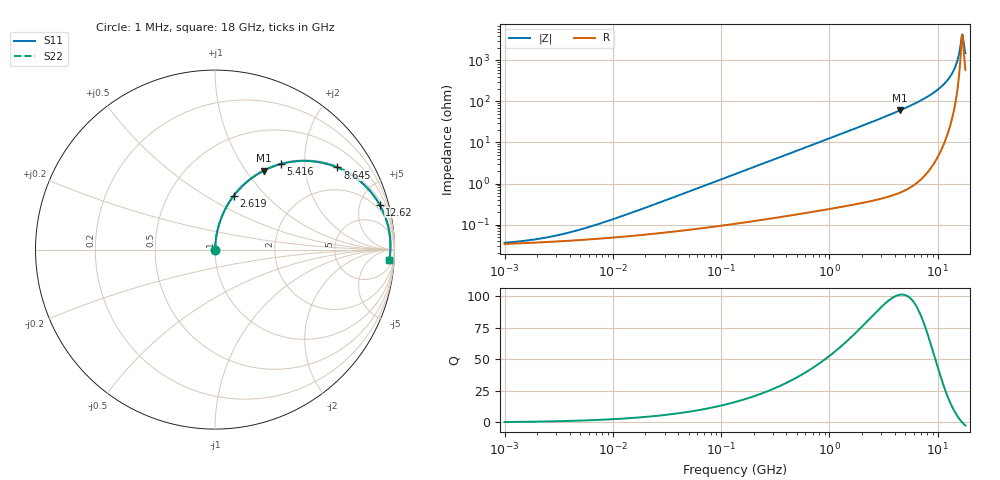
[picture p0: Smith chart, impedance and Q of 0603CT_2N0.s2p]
# MHz  S  MA  R  50
!Freq  MagS11  AngS11  MagS21  AngS21  MagS12  AngS12  MagS22  AngS22
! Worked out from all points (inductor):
!   986 points, 1 MHz to 18 GHz, reference 50 ohm
!   read as one part in series: L = 2 nH near 12.03 MHz
!   highest Q = 101 at 4.483 GHz (marker M1), where L = 2.15 nH
!   self-resonance near 16.84 GHz
!   S11 on the Smith chart (normalised r, x): 1 MHz: 1.00, +0.00; 2.619 GHz: 1.01, +0.67; 5.416 GHz: 1.02, +1.52; 8.645 GHz: 1.05, +2.95; 12.62 GHz: 1.39, +7.19; 18 GHz: 13, -28
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1  0.0003591 20.5  0.9997 -0.0  0.9997 -0.0  0.0003591 20.5
2.32979  0.0004728 38.2  0.9996 -0.0  0.9996 -0.0  0.0004728 38.2
5.164481  0.0007733 57.0  0.9996 -0.0  0.9996 -0.0  0.0007733 57.0
26.40778  0.003372 79.4  0.9994 -0.2  0.9994 -0.2  0.003372 79.4
135.0322  0.01698 85.5  0.9988 -1.0  0.9988 -1.0  0.01698 85.5
690.4664  0.08644 83.7  0.9942 -5.0  0.9942 -5.0  0.08644 83.7
1385.603  0.1722 79.2  0.9823 -9.9  0.9823 -9.9  0.1722 79.2
2619.429  0.3185 70.8  0.9442 -18.6  0.9442 -18.6  0.3185 70.8
3530.595  0.4193 64.6  0.9035 -24.8  0.9035 -24.8  0.4193 64.6
4482.919  0.5162 58.4  0.8514 -31.1  0.8514 -31.1  0.5162 58.4
5415.854  0.6017 52.4  0.7927 -37.0  0.7927 -37.0  0.6017 52.4
6945.464  0.7204 43.2  0.6852 -46.1  0.6852 -46.1  0.7204 43.2
8645.13  0.8214 33.9  0.5572 -55.2  0.5572 -55.2  0.8214 33.9
10654.19  0.9031 23.9  0.4052 -64.5  0.4052 -64.5  0.9031 23.9
12617.8  0.9504 15.3  0.2641 -71.6  0.2641 -71.6  0.9504 15.3
13799.9  0.9666 10.6  0.1848 -74.3  0.1848 -74.3  0.9666 10.6
14795.37  0.9744 6.9  0.1221 -74.4  0.1221 -74.4  0.9744 6.9
15396.12  0.9769 4.8  0.0864 -72.1  0.0864 -72.1  0.9769 4.8
16343.29  0.978 1.7  0.03626 -51.8  0.03626 -51.8  0.978 1.7
16671.79  0.9776 0.6  0.02479 -25.2  0.02479 -25.2  0.9776 0.6
17176.96  0.9764 -1.0  0.02876 34.4  0.02876 34.4  0.9764 -1.0
18000  0.9729 -3.4  0.06467 63.5  0.06467 63.5  0.9729 -3.4
